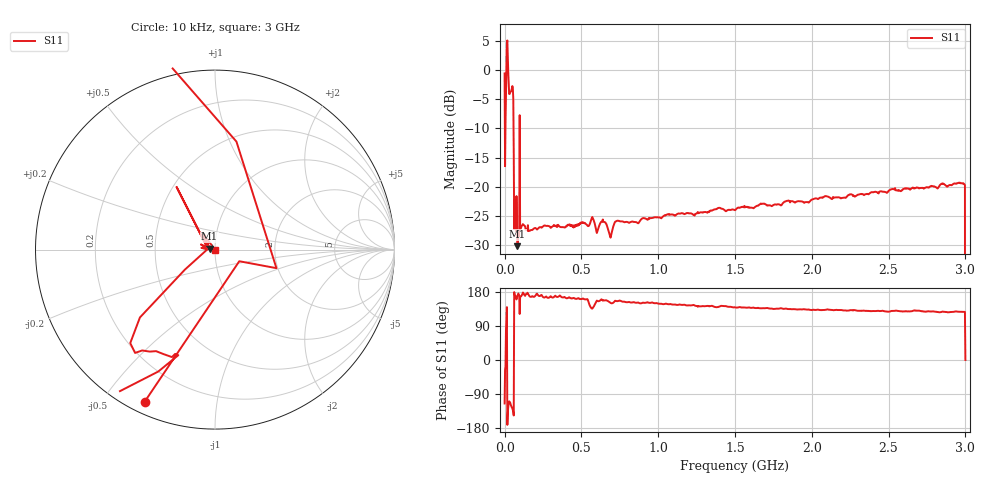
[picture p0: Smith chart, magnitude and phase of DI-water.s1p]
# HZ S RI R 50
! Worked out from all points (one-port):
!   1010 points, 10 kHz to 3 GHz, reference 50 ohm
!   lowest |S11| = -30.2 dB at 83.26 MHz (marker M1), VSWR 1.06, Z = 47 + j0.527 ohm
!   |S11| at or under -10 dB: 1.77 MHz to 5.536 MHz (3.766 MHz wide, 103 % of centre); 58.17 MHz to 97.79 MHz (39.62 MHz wide, 50.8 % of centre); 98.47 MHz to end of sweep
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10000  -0.3915 -0.8472
5956462  0.3423 -0.1034
1.784939e7  -1.766 -0.2757
2.379585e7  -0.5295 -0.7886
2.974231e7  -0.2045 -0.5883
3.271554e7  -0.2225 -0.5815
3.568877e7  -0.24 -0.5988
4.460846e7  -0.3638 -0.5683
7.434078e7  -0.0403 0.00922
8.028724e7  -0.0489 0.0115
8.326047e7  -0.0306 0.0056
9.812662e7  -0.2144 0.3494
1.129928e8  -0.0461 0.0065
1.15966e8  -0.0469 0.0048
1.516448e8  -0.0468 0.00382
3.776103e8  -0.0437 0.0116
5.708704e8  -0.0395 0.0385
6.035759e8  -0.0378 0.017
6.481744e8  -0.0461 0.0194
6.897996e8  -0.032 0.018
7.522374e8  -0.0464 0.0202
1.126865e9  -0.0484 0.0334
1.501492e9  -0.0476 0.0415
1.876119e9  -0.0521 0.054
2.250746e9  -0.0572 0.0643
2.625373e9  -0.0597 0.076
2.982161e9  -0.0644 0.0854
3e9  0 0
